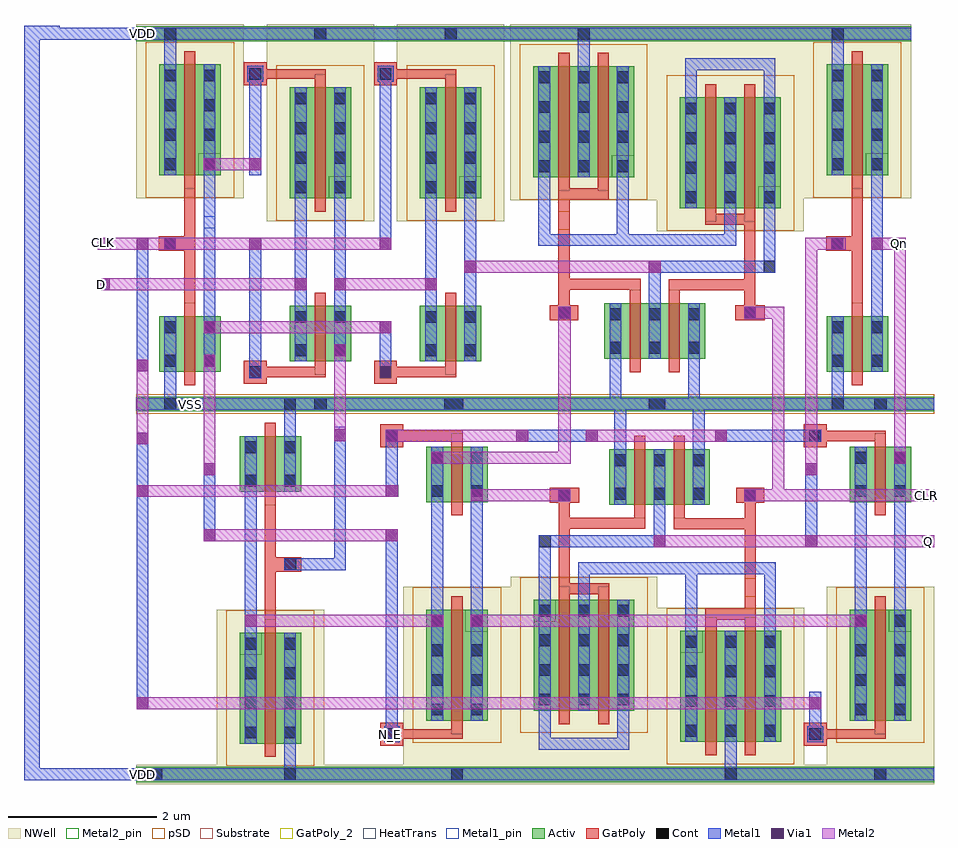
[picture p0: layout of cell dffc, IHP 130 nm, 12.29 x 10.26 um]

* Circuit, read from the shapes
.subckt dffc CLK CLR D N_E Q Qn VDD VSS
XM1 N_E CLK VSS VSS sg13_lv_nmos w=0.75u l=0.15u
XM2 VSS tg$16_0/VIN nor2$5_2/A VSS sg13_lv_nmos w=0.75u l=0.15u
XM3 tg$16_0/VIN CLK D VSS sg13_lv_nmos w=0.75u l=0.15u
XM4 tg$16_0/VOUT N_E tg$16_0/VIN VSS sg13_lv_nmos w=0.75u l=0.15u
XM5 nor2$6_1/B CLK nor2$5_2/A VSS sg13_lv_nmos w=0.75u l=0.15u
XM6 tg$16_0/VOUT nor2$5_2/A VSS VSS sg13_lv_nmos w=0.75u l=0.15u
XM7 Q nor2$6_1/B VSS VSS sg13_lv_nmos w=0.75u l=0.15u
XM8 VSS CLR tg$16_0/VOUT VSS sg13_lv_nmos w=0.75u l=0.15u
XM9 VSS CLR Q VSS sg13_lv_nmos w=0.75u l=0.15u
XM10 Qn Q VSS VSS sg13_lv_nmos w=0.75u l=0.15u
XM11 Qn CLK nor2$6_1/B VSS sg13_lv_nmos w=0.75u l=0.15u
XM12 N_E CLK VDD VDD sg13_lv_pmos w=1.5u l=0.15u
XM13 VDD tg$16_0/VIN nor2$5_2/A VDD sg13_lv_pmos w=1.5u l=0.15u
XM14 tg$16_0/VIN N_E D VDD sg13_lv_pmos w=1.5u l=0.15u
XM15 tg$16_0/VOUT CLK tg$16_0/VIN VDD sg13_lv_pmos w=1.5u l=0.15u
XM16 nor2$6_1/B N_E nor2$5_2/A VDD sg13_lv_pmos w=1.5u l=0.15u
XM17 VDD nor2$5_2/A n1 VDD sg13_lv_pmos w=1.5u l=0.15u m=2
XM18 n2 nor2$6_1/B Q VDD sg13_lv_pmos w=1.5u l=0.15u m=2
XM19 n1 CLR tg$16_0/VOUT VDD sg13_lv_pmos w=1.5u l=0.15u m=2
XM20 VDD CLR n2 VDD sg13_lv_pmos w=1.5u l=0.15u m=2
XM21 Qn Q VDD VDD sg13_lv_pmos w=1.5u l=0.15u
XM22 Qn CLK nor2$6_1/B VDD sg13_lv_pmos w=1.5u l=0.15u
.ends

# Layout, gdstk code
from math import pi, radians
import gdstk
lib = gdstk.Library(unit=1e-6, precision=5e-09)
def R(c, l, rs):  # rectangles x0, y0, x1, y1
    for r in rs: c.add(gdstk.rectangle(r[:2], r[2:], *l))
def A(c, l, x, y, w, h, nx, ny, dx, dy):  # array of equal rectangles
    R(c, l, [(x+i*dx, y+j*dy, x+i*dx+w, y+j*dy+h) for i in range(nx) for j in range(ny)])
def P(c, l, *ps):  # polygons
    for p in ps: c.add(gdstk.Polygon(p, *l))
Activ = (1, 0)
GatPoly = (5, 0)
GatPoly_2 = (5, 2)
Cont = (6, 0)
Metal1 = (8, 0)
Metal1_pin = (8, 2)
Metal2 = (10, 0)
Metal2_pin = (10, 2)
pSD = (14, 0)
Via1 = (19, 0)
NWell = (31, 0)
Substrate = (40, 0)
HeatTrans = (51, 0)

pmos_1_28 = lib.new_cell('pmos$1$28')
R(pmos_1_28, Activ, [(0,0,0.3,0.3), (0,0,0.83,1.5), (0.53,0,0.83,0.3)])
R(pmos_1_28, GatPoly, [(0.34,-0.18,0.49,1.68), (0.34,-0.18,0.49,1.68)])
A(pmos_1_28, Cont, 0.07, 0.07, 0.16, 0.16, 1, 4, 0, 0.4)
A(pmos_1_28, Cont, 0.6, 0.07, 0.16, 0.16, 1, 4, 0, 0.4)
R(pmos_1_28, Metal1, [(0.07,0,0.23,1.5), (0.07,0,0.23,1.5), (0.6,0,0.76,1.5), (0.6,0,0.76,1.5)])
R(pmos_1_28, pSD, [(-0.18,-0.3,1.01,1.8)])
R(pmos_1_28, NWell, [(-0.31,-0.31,1.14,1.81)])
R(pmos_1_28, Substrate, [(0.53,0,0.83,0.3)])
R(pmos_1_28, HeatTrans, [(0.34,-0.18,0.49,1.68)])
pmos_1_28.add(gdstk.Label('pmos', (0.415,0.75), layer=63, texttype=0))
pmos_1_28.add(gdstk.Label('pmos', (0.415,0.75), layer=51, texttype=0))

nmos_1_16 = lib.new_cell('nmos$1$16')
R(nmos_1_16, Activ, [(0,0,0.3,0.3), (0,0,0.83,0.75), (0.53,0,0.83,0.3)])
R(nmos_1_16, GatPoly, [(0.34,-0.18,0.49,0.93)])
R(nmos_1_16, GatPoly_2, [(0.34,-0.18,0.49,0.93)])
R(nmos_1_16, Cont, [(0.07,0.07,0.23,0.23), (0.6,0.07,0.76,0.23), (0.07,0.52,0.23,0.68), (0.6,0.52,0.76,0.68)])
R(nmos_1_16, Metal1, [(0.07,0,0.23,0.75), (0.6,0,0.76,0.75)])
R(nmos_1_16, Metal1_pin, [(0.07,0,0.23,0.75), (0.6,0,0.76,0.75)])
R(nmos_1_16, HeatTrans, [(0.34,-0.18,0.49,0.93)])
nmos_1_16.add(gdstk.Label('nmos', (0.415,0.375), layer=63, texttype=0))
nmos_1_16.add(gdstk.Label('nmos', (0.415,0.375), layer=51, texttype=0))

tg_16 = lib.new_cell('tg$16')
R(tg_16, Activ, [(-1.035,-0.1,0.725,0.1), (-1.035,4.9,0.725,5.1)])
R(tg_16, GatPoly, [(-1.035,0.275,-0.725,0.585), (-0.725,0.36,0.075,0.5), (-1.035,4.305,-0.725,4.615), (-0.725,4.39,0.075,4.52)])
R(tg_16, Cont, [(-0.085,-0.08,0.085,0.08), (-0.96,0.35,-0.8,0.51), (-0.96,4.375,-0.8,4.535), (-0.08,4.92,0.08,5.08)])
R(tg_16, Metal1, [(-1.035,-0.08,0.725,0.08), (-0.085,-0.08,0.085,0.08), (-0.96,0.35,-0.8,0.51), (-0.345,0.83,-0.185,0.99), (0.185,0.83,0.345,0.99), (-0.345,1.06,-0.185,2.775), (0.185,1.06,0.345,2.775), (-0.985,4.35,-0.77,4.565), (-1.035,4.92,0.725,5.08), (-0.08,4.92,0.08,5.08)])
R(tg_16, Metal1_pin, [(-1.035,-0.08,0.725,0.08), (-0.085,-0.08,0.085,0.08), (-0.96,0.35,-0.8,0.51), (-0.345,0.83,-0.185,0.99), (0.185,0.83,0.345,0.99), (-0.96,4.375,-0.8,4.535), (-1.035,4.92,0.725,5.08), (-0.08,4.92,0.08,5.08)])
R(tg_16, pSD, [(-1.035,-0.13,0.725,0.13)])
R(tg_16, NWell, [(-0.725,4.585,0.725,5.13)])
tg_16.add(gdstk.Reference(pmos_1_28, (-0.415,2.775)))
tg_16.add(gdstk.Reference(nmos_1_16, (-0.415,0.575)))
tg_16.add(gdstk.Label('E', (-0.89,0.425), layer=8, texttype=2))
tg_16.add(gdstk.Label('vss', (0,0), layer=8, texttype=2))
tg_16.add(gdstk.Label('vdd', (0,5), layer=8, texttype=2))
tg_16.add(gdstk.Label('N_E', (-0.895,4.44), layer=8, texttype=2))
tg_16.add(gdstk.Label('VIN', (-0.285,0.91), layer=8, texttype=2))
tg_16.add(gdstk.Label('VOUT', (0.255,0.925), layer=8, texttype=2))

pmos_7 = lib.new_cell('pmos$7')
A(pmos_7, Activ, 0, 0, 0.3, 0.3, 3, 1, 0.53, 0)
R(pmos_7, Activ, [(0,0,1.36,1.5)])
R(pmos_7, GatPoly, [(0.34,-0.18,0.49,1.68), (0.34,-0.18,0.49,1.68), (0.87,-0.18,1.02,1.68)])
A(pmos_7, Cont, 0.07, 0.07, 0.16, 0.16, 3, 4, 0.53, 0.4)
R(pmos_7, Metal1, [(0.07,0,0.23,1.5), (0.07,0,0.23,1.5), (0.6,0,0.76,1.5), (0.6,0,0.76,1.5), (1.13,0,1.29,1.5)])
R(pmos_7, pSD, [(-0.18,-0.3,1.54,1.8)])
R(pmos_7, NWell, [(-0.31,-0.31,1.67,1.81)])
R(pmos_7, Substrate, [(1.06,0,1.36,0.3)])
R(pmos_7, HeatTrans, [(0.34,-0.18,0.49,1.68), (0.87,-0.18,1.02,1.68)])
pmos_7.add(gdstk.Label('pmos', (0.415,0.75), layer=63, texttype=0))
pmos_7.add(gdstk.Label('pmos', (0.415,0.75), layer=51, texttype=0))
pmos_7.add(gdstk.Label('pmos', (0.945,0.75), layer=51, texttype=0))

nmos_2_6 = lib.new_cell('nmos$2$6')
R(nmos_2_6, Activ, [(0,0,0.3,0.3), (0,0,0.83,0.75), (0.53,0,0.83,0.3)])
R(nmos_2_6, GatPoly, [(0.34,-0.18,0.49,0.93)])
R(nmos_2_6, GatPoly_2, [(0.34,-0.18,0.49,0.93)])
R(nmos_2_6, Cont, [(0.07,0.07,0.23,0.23), (0.6,0.07,0.76,0.23), (0.07,0.52,0.23,0.68), (0.6,0.52,0.76,0.68)])
R(nmos_2_6, Metal1, [(0.07,0,0.23,0.75), (0.6,0,0.76,0.75)])
R(nmos_2_6, Metal1_pin, [(0.07,0,0.23,0.75), (0.6,0,0.76,0.75)])
R(nmos_2_6, HeatTrans, [(0.34,-0.18,0.49,0.93)])
nmos_2_6.add(gdstk.Label('nmos', (0.415,0.375), layer=63, texttype=0))
nmos_2_6.add(gdstk.Label('nmos', (0.415,0.375), layer=51, texttype=0))

nor2_6 = lib.new_cell('nor2$6')
R(nor2_6, Activ, [(-2.34,-0.1,1.62,0.1), (-2.34,4.9,1.62,5.1)])
R(nor2_6, GatPoly, [(-1.805,1.13,-1.605,1.33), (-1.625,1.13,-1.425,1.33), (0.695,1.13,0.895,1.33), (0.82,1.13,0.97,1.685), (0.895,1.13,1.095,1.33), (-1.69,1.33,-1.54,1.69), (-0.2,1.535,0.97,1.685), (-1.69,1.54,-0.58,1.69), (0.82,1.685,0.97,2.46), (-1.69,1.69,-1.54,2.88), (0.29,2.42,0.97,2.57), (-1.69,2.76,-1.01,2.91)])
R(nor2_6, GatPoly_2, [(-1.69,2.35,-1.54,2.6)])
R(nor2_6, Cont, [(-0.47,-0.08,-0.31,0.08), (-1.69,1.15,-1.53,1.31), (0.815,1.15,0.975,1.31), (1.08,1.775,1.24,1.935), (-1.43,4.92,-1.27,5.08)])
R(nor2_6, Metal1, [(-2.34,-0.08,1.62,0.08), (-0.47,-0.08,-0.31,0.08), (-1,0.08,-0.84,0.84), (0.06,0.08,0.22,0.84), (-0.47,1.13,-0.31,1.775), (-1.69,1.15,-1.53,1.31), (0.815,1.15,0.975,1.31), (-0.47,1.775,1.24,1.935), (1.08,1.935,1.24,2.64), (-1.96,2.135,-1.8,3.29), (-1.96,2.135,0.71,2.295), (-0.9,2.135,-0.74,3.29), (0.55,2.135,0.71,2.87), (0.02,3.905,0.18,4.505), (1.08,3.905,1.24,4.505), (0.02,4.505,1.24,4.665), (-1.43,4.56,-1.27,5.08), (-2.34,4.92,1.62,5.08), (-1.43,4.92,-1.27,5.08)])
R(nor2_6, Metal1_pin, [(-2.34,-0.08,1.62,0.08), (-0.47,-0.08,-0.31,0.08), (-1.69,1.15,-1.53,1.31), (0.815,1.15,0.975,1.31), (1.08,1.775,1.24,1.935), (-2.34,4.92,-0.08,5.08), (-0.08,4.92,0.08,5.08), (0.08,4.92,1.62,5.08)])
R(nor2_6, pSD, [(-2.34,-0.13,1.62,0.13)])
R(nor2_6, NWell, [(-0.36,4.45,1.62,4.87), (-2.34,4.87,1.62,5.13)])
nor2_6.add(gdstk.Reference(pmos_7, (-0.05,2.64)))
nor2_6.add(gdstk.Reference(pmos_7, (-2.03,3.06)))
nor2_6.add(gdstk.Reference(pmos_7, (-2.03,3.06)))
nor2_6.add(gdstk.Reference(nmos_2_6, (-1.07,0.61)))
nor2_6.add(gdstk.Reference(nmos_2_6, (-0.54,0.61)))
nor2_6.add(gdstk.Label('vss', (-0.39,0), layer=8, texttype=2))
nor2_6.add(gdstk.Label('vdd', (-1.38,5), layer=8, texttype=2))
nor2_6.add(gdstk.Label('A', (-1.61,1.23), layer=8, texttype=2))
nor2_6.add(gdstk.Label('B', (0.895,1.23), layer=8, texttype=2))
nor2_6.add(gdstk.Label('out', (1.16,1.855), layer=8, texttype=2))

pmos_6 = lib.new_cell('pmos$6')
A(pmos_6, Activ, 0, 0, 0.3, 0.3, 3, 1, 0.53, 0)
R(pmos_6, Activ, [(0,0,1.36,1.5)])
R(pmos_6, GatPoly, [(0.34,-0.18,0.49,1.68), (0.34,-0.18,0.49,1.68), (0.87,-0.18,1.02,1.68)])
A(pmos_6, Cont, 0.07, 0.07, 0.16, 0.16, 3, 4, 0.53, 0.4)
R(pmos_6, Metal1, [(0.07,0,0.23,1.5), (0.07,0,0.23,1.5), (0.6,0,0.76,1.5), (0.6,0,0.76,1.5), (1.13,0,1.29,1.5)])
R(pmos_6, pSD, [(-0.18,-0.3,1.54,1.8)])
R(pmos_6, NWell, [(-0.31,-0.31,1.67,1.81)])
R(pmos_6, Substrate, [(1.06,0,1.36,0.3)])
R(pmos_6, HeatTrans, [(0.34,-0.18,0.49,1.68), (0.87,-0.18,1.02,1.68)])
pmos_6.add(gdstk.Label('pmos', (0.415,0.75), layer=63, texttype=0))
pmos_6.add(gdstk.Label('pmos', (0.415,0.75), layer=51, texttype=0))
pmos_6.add(gdstk.Label('pmos', (0.945,0.75), layer=51, texttype=0))

nmos_2_5 = lib.new_cell('nmos$2$5')
R(nmos_2_5, Activ, [(0,0,0.3,0.3), (0,0,0.83,0.75), (0.53,0,0.83,0.3)])
R(nmos_2_5, GatPoly, [(0.34,-0.18,0.49,0.93)])
R(nmos_2_5, GatPoly_2, [(0.34,-0.18,0.49,0.93)])
R(nmos_2_5, Cont, [(0.07,0.07,0.23,0.23), (0.6,0.07,0.76,0.23), (0.07,0.52,0.23,0.68), (0.6,0.52,0.76,0.68)])
R(nmos_2_5, Metal1, [(0.07,0,0.23,0.75), (0.6,0,0.76,0.75)])
R(nmos_2_5, Metal1_pin, [(0.07,0,0.23,0.75), (0.6,0,0.76,0.75)])
R(nmos_2_5, HeatTrans, [(0.34,-0.18,0.49,0.93)])
nmos_2_5.add(gdstk.Label('nmos', (0.415,0.375), layer=63, texttype=0))
nmos_2_5.add(gdstk.Label('nmos', (0.415,0.375), layer=51, texttype=0))

nor2_5 = lib.new_cell('nor2$5')
R(nor2_5, Activ, [(-2.34,-0.1,1.62,0.1), (-2.34,4.9,1.62,5.1)])
R(nor2_5, GatPoly, [(-1.805,1.13,-1.605,1.33), (-1.625,1.13,-1.425,1.33), (0.695,1.13,0.895,1.33), (0.82,1.13,0.97,1.685), (0.895,1.13,1.095,1.33), (-1.69,1.33,-1.54,1.69), (-0.2,1.535,0.97,1.685), (-1.69,1.54,-0.58,1.69), (0.82,1.685,0.97,2.46), (-1.69,1.69,-1.54,2.88), (0.29,2.42,0.97,2.57), (-1.69,2.76,-1.01,2.91)])
R(nor2_5, GatPoly_2, [(-1.69,2.35,-1.54,2.6)])
R(nor2_5, Cont, [(-0.47,-0.08,-0.31,0.08), (-1.69,1.15,-1.53,1.31), (0.815,1.15,0.975,1.31), (1.08,1.775,1.24,1.935), (-1.43,4.92,-1.27,5.08)])
R(nor2_5, Metal1, [(-2.34,-0.08,1.62,0.08), (-0.47,-0.08,-0.31,0.08), (-1,0.08,-0.84,0.84), (0.06,0.08,0.22,0.84), (-0.47,1.13,-0.31,1.775), (-1.69,1.15,-1.53,1.31), (0.815,1.15,0.975,1.31), (-0.47,1.775,1.24,1.935), (1.08,1.935,1.24,2.64), (-1.96,2.135,-1.8,3.29), (-1.96,2.135,0.71,2.295), (-0.9,2.135,-0.74,3.29), (0.55,2.135,0.71,2.87), (0.02,3.905,0.18,4.505), (1.08,3.905,1.24,4.505), (0.02,4.505,1.24,4.665), (-1.43,4.56,-1.27,5.08), (-2.34,4.92,1.62,5.08), (-1.43,4.92,-1.27,5.08)])
R(nor2_5, Metal1_pin, [(-2.34,-0.08,1.62,0.08), (-0.47,-0.08,-0.31,0.08), (-1.69,1.15,-1.53,1.31), (0.815,1.15,0.975,1.31), (1.08,1.775,1.24,1.935), (-2.34,4.92,-0.08,5.08), (-0.08,4.92,0.08,5.08), (0.08,4.92,1.62,5.08)])
R(nor2_5, pSD, [(-2.34,-0.13,1.62,0.13)])
R(nor2_5, NWell, [(-0.36,4.45,1.62,4.87), (-2.34,4.87,1.62,5.13)])
nor2_5.add(gdstk.Reference(pmos_6, (-0.05,2.64)))
nor2_5.add(gdstk.Reference(pmos_6, (-2.03,3.06)))
nor2_5.add(gdstk.Reference(pmos_6, (-2.03,3.06)))
nor2_5.add(gdstk.Reference(nmos_2_5, (-1.07,0.61)))
nor2_5.add(gdstk.Reference(nmos_2_5, (-0.54,0.61)))
nor2_5.add(gdstk.Label('vss', (-0.39,0), layer=8, texttype=2))
nor2_5.add(gdstk.Label('vdd', (-1.38,5), layer=8, texttype=2))
nor2_5.add(gdstk.Label('A', (-1.61,1.23), layer=8, texttype=2))
nor2_5.add(gdstk.Label('B', (0.895,1.23), layer=8, texttype=2))
nor2_5.add(gdstk.Label('out', (1.16,1.855), layer=8, texttype=2))

pmos_1_25 = lib.new_cell('pmos$1$25')
R(pmos_1_25, Activ, [(0,0,0.3,0.3), (0,0,0.83,1.5), (0.53,0,0.83,0.3)])
R(pmos_1_25, GatPoly, [(0.34,-0.18,0.49,1.68), (0.34,-0.18,0.49,1.68)])
A(pmos_1_25, Cont, 0.07, 0.07, 0.16, 0.16, 1, 4, 0, 0.4)
A(pmos_1_25, Cont, 0.6, 0.07, 0.16, 0.16, 1, 4, 0, 0.4)
R(pmos_1_25, Metal1, [(0.07,0,0.23,1.5), (0.07,0,0.23,1.5), (0.6,0,0.76,1.5), (0.6,0,0.76,1.5)])
R(pmos_1_25, pSD, [(-0.18,-0.3,1.01,1.8)])
R(pmos_1_25, NWell, [(-0.31,-0.31,1.14,1.81)])
R(pmos_1_25, Substrate, [(0.53,0,0.83,0.3)])
R(pmos_1_25, HeatTrans, [(0.34,-0.18,0.49,1.68)])
pmos_1_25.add(gdstk.Label('pmos', (0.415,0.75), layer=63, texttype=0))
pmos_1_25.add(gdstk.Label('pmos', (0.415,0.75), layer=51, texttype=0))

nmos_1_15 = lib.new_cell('nmos$1$15')
R(nmos_1_15, Activ, [(0,0,0.3,0.3), (0,0,0.83,0.75), (0.53,0,0.83,0.3)])
R(nmos_1_15, GatPoly, [(0.34,-0.18,0.49,0.93)])
R(nmos_1_15, GatPoly_2, [(0.34,-0.18,0.49,0.93)])
R(nmos_1_15, Cont, [(0.07,0.07,0.23,0.23), (0.6,0.07,0.76,0.23), (0.07,0.52,0.23,0.68), (0.6,0.52,0.76,0.68)])
R(nmos_1_15, Metal1, [(0.07,0,0.23,0.75), (0.6,0,0.76,0.75)])
R(nmos_1_15, Metal1_pin, [(0.07,0,0.23,0.75), (0.6,0,0.76,0.75)])
R(nmos_1_15, HeatTrans, [(0.34,-0.18,0.49,0.93)])
nmos_1_15.add(gdstk.Label('nmos', (0.415,0.375), layer=63, texttype=0))
nmos_1_15.add(gdstk.Label('nmos', (0.415,0.375), layer=51, texttype=0))

tg_15 = lib.new_cell('tg$15')
R(tg_15, Activ, [(-1.035,-0.1,0.725,0.1), (-1.035,4.9,0.725,5.1)])
R(tg_15, GatPoly, [(-1.035,0.275,-0.725,0.585), (-0.725,0.36,0.075,0.5), (-1.035,4.305,-0.725,4.615), (-0.725,4.39,0.075,4.52)])
R(tg_15, Cont, [(-0.085,-0.08,0.085,0.08), (-0.96,0.35,-0.8,0.51), (-0.96,4.375,-0.8,4.535), (-0.08,4.92,0.08,5.08)])
R(tg_15, Metal1, [(-1.035,-0.08,0.725,0.08), (-0.085,-0.08,0.085,0.08), (-0.96,0.35,-0.8,0.51), (-0.345,0.83,-0.185,0.99), (0.185,0.83,0.345,0.99), (-0.345,1.06,-0.185,2.775), (0.185,1.06,0.345,2.775), (-0.985,4.35,-0.77,4.565), (-1.035,4.92,0.725,5.08), (-0.08,4.92,0.08,5.08)])
R(tg_15, Metal1_pin, [(-1.035,-0.08,0.725,0.08), (-0.085,-0.08,0.085,0.08), (-0.96,0.35,-0.8,0.51), (-0.345,0.83,-0.185,0.99), (0.185,0.83,0.345,0.99), (-0.96,4.375,-0.8,4.535), (-1.035,4.92,0.725,5.08), (-0.08,4.92,0.08,5.08)])
R(tg_15, pSD, [(-1.035,-0.13,0.725,0.13)])
R(tg_15, NWell, [(-0.725,4.585,0.725,5.13)])
tg_15.add(gdstk.Reference(pmos_1_25, (-0.415,2.775)))
tg_15.add(gdstk.Reference(nmos_1_15, (-0.415,0.575)))
tg_15.add(gdstk.Label('E', (-0.89,0.425), layer=8, texttype=2))
tg_15.add(gdstk.Label('vss', (0,0), layer=8, texttype=2))
tg_15.add(gdstk.Label('vdd', (0,5), layer=8, texttype=2))
tg_15.add(gdstk.Label('N_E', (-0.895,4.44), layer=8, texttype=2))
tg_15.add(gdstk.Label('VIN', (-0.285,0.91), layer=8, texttype=2))
tg_15.add(gdstk.Label('VOUT', (0.255,0.925), layer=8, texttype=2))

nmos_11 = lib.new_cell('nmos$11')
R(nmos_11, Activ, [(0,0,0.3,0.3), (0,0,0.83,0.75), (0.53,0,0.83,0.3)])
R(nmos_11, GatPoly, [(0.34,-0.18,0.49,0.93)])
R(nmos_11, GatPoly_2, [(0.34,-0.18,0.49,0.93)])
R(nmos_11, Cont, [(0.07,0.07,0.23,0.23), (0.6,0.07,0.76,0.23), (0.07,0.52,0.23,0.68), (0.6,0.52,0.76,0.68)])
R(nmos_11, Metal1, [(0.07,0,0.23,0.75), (0.6,0,0.76,0.75)])
R(nmos_11, Metal1_pin, [(0.07,0,0.23,0.75), (0.6,0,0.76,0.75)])
R(nmos_11, HeatTrans, [(0.34,-0.18,0.49,0.93)])
nmos_11.add(gdstk.Label('nmos', (0.415,0.375), layer=63, texttype=0))
nmos_11.add(gdstk.Label('nmos', (0.415,0.375), layer=51, texttype=0))

pmos_1_22 = lib.new_cell('pmos$1$22')
R(pmos_1_22, Activ, [(0,0,0.3,0.3), (0,0,0.83,1.5), (0.53,0,0.83,0.3)])
R(pmos_1_22, GatPoly, [(0.34,-0.18,0.49,1.68), (0.34,-0.18,0.49,1.68)])
A(pmos_1_22, Cont, 0.07, 0.07, 0.16, 0.16, 1, 4, 0, 0.4)
A(pmos_1_22, Cont, 0.6, 0.07, 0.16, 0.16, 1, 4, 0, 0.4)
R(pmos_1_22, Metal1, [(0.07,0,0.23,1.5), (0.07,0,0.23,1.5), (0.6,0,0.76,1.5), (0.6,0,0.76,1.5)])
R(pmos_1_22, pSD, [(-0.18,-0.3,1.01,1.8)])
R(pmos_1_22, NWell, [(-0.31,-0.31,1.14,1.81)])
R(pmos_1_22, Substrate, [(0.53,0,0.83,0.3)])
R(pmos_1_22, HeatTrans, [(0.34,-0.18,0.49,1.68)])
pmos_1_22.add(gdstk.Label('pmos', (0.415,0.75), layer=63, texttype=0))
pmos_1_22.add(gdstk.Label('pmos', (0.415,0.75), layer=51, texttype=0))

inverter_9 = lib.new_cell('inverter$9')
R(inverter_9, Activ, [(-0.46,-0.1,0.99,0.1), (-0.46,4.9,0.99,5.1)])
R(inverter_9, GatPoly, [(0.19,1.365,0.34,2.965), (-0.155,2.07,0.145,2.265), (0.145,2.07,0.19,2.265)])
R(inverter_9, Cont, [(-0.08,-0.08,0.08,0.08), (-0.085,2.085,0.075,2.245), (-0.08,4.92,0.08,5.08)])
R(inverter_9, Metal1, [(-0.46,-0.08,0.99,0.08), (-0.08,-0.08,0.08,0.08), (-0.08,0.08,0.08,0.435), (0.45,0.96,0.61,3.37), (-0.085,2.085,0.075,2.245), (-0.08,4.585,0.08,4.92), (-0.46,4.92,-0.08,5.08), (-0.08,4.92,0.08,5.08), (0.08,4.92,0.99,5.08)])
R(inverter_9, Metal1_pin, [(-0.46,-0.08,0.99,0.08), (-0.08,-0.08,0.08,0.08), (-0.085,2.085,0.075,2.245), (0.45,3.155,0.61,3.315), (-0.46,4.92,0.99,5.08), (-0.08,4.92,0.08,5.08)])
R(inverter_9, pSD, [(-0.46,-0.13,0.99,0.13)])
R(inverter_9, NWell, [(-0.46,4.87,0.99,5.13)])
inverter_9.add(gdstk.Reference(nmos_11, (-0.15,0.435)))
inverter_9.add(gdstk.Reference(pmos_1_22, (-0.15,3.085)))
inverter_9.add(gdstk.Label('out', (0.505,3.25), layer=8, texttype=2))
inverter_9.add(gdstk.Label('VSS', (0.015,0.015), layer=8, texttype=2))
inverter_9.add(gdstk.Label('VDD', (-0.025,4.94), layer=8, texttype=2))
inverter_9.add(gdstk.Label('in', (-0.01,2.15), layer=8, texttype=2))

nmos_12 = lib.new_cell('nmos$12')
R(nmos_12, Activ, [(0,0,0.3,0.3), (0,0,0.83,0.75), (0.53,0,0.83,0.3)])
R(nmos_12, GatPoly, [(0.34,-0.18,0.49,0.93)])
R(nmos_12, GatPoly_2, [(0.34,-0.18,0.49,0.93)])
R(nmos_12, Cont, [(0.07,0.07,0.23,0.23), (0.6,0.07,0.76,0.23), (0.07,0.52,0.23,0.68), (0.6,0.52,0.76,0.68)])
R(nmos_12, Metal1, [(0.07,0,0.23,0.75), (0.6,0,0.76,0.75)])
R(nmos_12, Metal1_pin, [(0.07,0,0.23,0.75), (0.6,0,0.76,0.75)])
R(nmos_12, HeatTrans, [(0.34,-0.18,0.49,0.93)])
nmos_12.add(gdstk.Label('nmos', (0.415,0.375), layer=63, texttype=0))
nmos_12.add(gdstk.Label('nmos', (0.415,0.375), layer=51, texttype=0))

pmos_1_26 = lib.new_cell('pmos$1$26')
R(pmos_1_26, Activ, [(0,0,0.3,0.3), (0,0,0.83,1.5), (0.53,0,0.83,0.3)])
R(pmos_1_26, GatPoly, [(0.34,-0.18,0.49,1.68), (0.34,-0.18,0.49,1.68)])
A(pmos_1_26, Cont, 0.07, 0.07, 0.16, 0.16, 1, 4, 0, 0.4)
A(pmos_1_26, Cont, 0.6, 0.07, 0.16, 0.16, 1, 4, 0, 0.4)
R(pmos_1_26, Metal1, [(0.07,0,0.23,1.5), (0.07,0,0.23,1.5), (0.6,0,0.76,1.5), (0.6,0,0.76,1.5)])
R(pmos_1_26, pSD, [(-0.18,-0.3,1.01,1.8)])
R(pmos_1_26, NWell, [(-0.31,-0.31,1.14,1.81)])
R(pmos_1_26, Substrate, [(0.53,0,0.83,0.3)])
R(pmos_1_26, HeatTrans, [(0.34,-0.18,0.49,1.68)])
pmos_1_26.add(gdstk.Label('pmos', (0.415,0.75), layer=63, texttype=0))
pmos_1_26.add(gdstk.Label('pmos', (0.415,0.75), layer=51, texttype=0))

inverter_10 = lib.new_cell('inverter$10')
R(inverter_10, Activ, [(-0.46,-0.1,0.99,0.1), (-0.46,4.9,0.99,5.1)])
R(inverter_10, GatPoly, [(0.19,1.365,0.34,2.965), (-0.155,2.07,0.145,2.265), (0.145,2.07,0.19,2.265)])
R(inverter_10, Cont, [(-0.08,-0.08,0.08,0.08), (-0.085,2.085,0.075,2.245), (-0.08,4.92,0.08,5.08)])
R(inverter_10, Metal1, [(-0.46,-0.08,0.99,0.08), (-0.08,-0.08,0.08,0.08), (-0.08,0.08,0.08,0.435), (0.45,0.96,0.61,3.37), (-0.085,2.085,0.075,2.245), (-0.08,4.585,0.08,4.92), (-0.46,4.92,-0.08,5.08), (-0.08,4.92,0.08,5.08), (0.08,4.92,0.99,5.08)])
R(inverter_10, Metal1_pin, [(-0.46,-0.08,0.99,0.08), (-0.08,-0.08,0.08,0.08), (-0.085,2.085,0.075,2.245), (0.45,3.155,0.61,3.315), (-0.46,4.92,0.99,5.08), (-0.08,4.92,0.08,5.08)])
R(inverter_10, pSD, [(-0.46,-0.13,0.99,0.13)])
R(inverter_10, NWell, [(-0.46,4.87,0.99,5.13)])
inverter_10.add(gdstk.Reference(nmos_12, (-0.15,0.435)))
inverter_10.add(gdstk.Reference(pmos_1_26, (-0.15,3.085)))
inverter_10.add(gdstk.Label('out', (0.505,3.25), layer=8, texttype=2))
inverter_10.add(gdstk.Label('VSS', (0.015,0.015), layer=8, texttype=2))
inverter_10.add(gdstk.Label('VDD', (-0.025,4.94), layer=8, texttype=2))
inverter_10.add(gdstk.Label('in', (-0.01,2.15), layer=8, texttype=2))

pmos_1_23 = lib.new_cell('pmos$1$23')
R(pmos_1_23, Activ, [(0,0,0.3,0.3), (0,0,0.83,1.5), (0.53,0,0.83,0.3)])
R(pmos_1_23, GatPoly, [(0.34,-0.18,0.49,1.68), (0.34,-0.18,0.49,1.68)])
A(pmos_1_23, Cont, 0.07, 0.07, 0.16, 0.16, 1, 4, 0, 0.4)
A(pmos_1_23, Cont, 0.6, 0.07, 0.16, 0.16, 1, 4, 0, 0.4)
R(pmos_1_23, Metal1, [(0.07,0,0.23,1.5), (0.07,0,0.23,1.5), (0.6,0,0.76,1.5), (0.6,0,0.76,1.5)])
R(pmos_1_23, pSD, [(-0.18,-0.3,1.01,1.8)])
R(pmos_1_23, NWell, [(-0.31,-0.31,1.14,1.81)])
R(pmos_1_23, Substrate, [(0.53,0,0.83,0.3)])
R(pmos_1_23, HeatTrans, [(0.34,-0.18,0.49,1.68)])
pmos_1_23.add(gdstk.Label('pmos', (0.415,0.75), layer=63, texttype=0))
pmos_1_23.add(gdstk.Label('pmos', (0.415,0.75), layer=51, texttype=0))

nmos_1_13 = lib.new_cell('nmos$1$13')
R(nmos_1_13, Activ, [(0,0,0.3,0.3), (0,0,0.83,0.75), (0.53,0,0.83,0.3)])
R(nmos_1_13, GatPoly, [(0.34,-0.18,0.49,0.93)])
R(nmos_1_13, GatPoly_2, [(0.34,-0.18,0.49,0.93)])
R(nmos_1_13, Cont, [(0.07,0.07,0.23,0.23), (0.6,0.07,0.76,0.23), (0.07,0.52,0.23,0.68), (0.6,0.52,0.76,0.68)])
R(nmos_1_13, Metal1, [(0.07,0,0.23,0.75), (0.6,0,0.76,0.75)])
R(nmos_1_13, Metal1_pin, [(0.07,0,0.23,0.75), (0.6,0,0.76,0.75)])
R(nmos_1_13, HeatTrans, [(0.34,-0.18,0.49,0.93)])
nmos_1_13.add(gdstk.Label('nmos', (0.415,0.375), layer=63, texttype=0))
nmos_1_13.add(gdstk.Label('nmos', (0.415,0.375), layer=51, texttype=0))

tg_13 = lib.new_cell('tg$13')
R(tg_13, Activ, [(-1.035,-0.1,0.725,0.1), (-1.035,4.9,0.725,5.1)])
R(tg_13, GatPoly, [(-1.035,0.275,-0.725,0.585), (-0.725,0.36,0.075,0.5), (-1.035,4.305,-0.725,4.615), (-0.725,4.39,0.075,4.52)])
R(tg_13, Cont, [(-0.085,-0.08,0.085,0.08), (-0.96,0.35,-0.8,0.51), (-0.96,4.375,-0.8,4.535), (-0.08,4.92,0.08,5.08)])
R(tg_13, Metal1, [(-1.035,-0.08,0.725,0.08), (-0.085,-0.08,0.085,0.08), (-0.96,0.35,-0.8,0.51), (-0.345,0.83,-0.185,0.99), (0.185,0.83,0.345,0.99), (-0.345,1.06,-0.185,2.775), (0.185,1.06,0.345,2.775), (-0.985,4.35,-0.77,4.565), (-1.035,4.92,0.725,5.08), (-0.08,4.92,0.08,5.08)])
R(tg_13, Metal1_pin, [(-1.035,-0.08,0.725,0.08), (-0.085,-0.08,0.085,0.08), (-0.96,0.35,-0.8,0.51), (-0.345,0.83,-0.185,0.99), (0.185,0.83,0.345,0.99), (-0.96,4.375,-0.8,4.535), (-1.035,4.92,0.725,5.08), (-0.08,4.92,0.08,5.08)])
R(tg_13, pSD, [(-1.035,-0.13,0.725,0.13)])
R(tg_13, NWell, [(-0.725,4.585,0.725,5.13)])
tg_13.add(gdstk.Reference(pmos_1_23, (-0.415,2.775)))
tg_13.add(gdstk.Reference(nmos_1_13, (-0.415,0.575)))
tg_13.add(gdstk.Label('E', (-0.89,0.425), layer=8, texttype=2))
tg_13.add(gdstk.Label('vss', (0,0), layer=8, texttype=2))
tg_13.add(gdstk.Label('vdd', (0,5), layer=8, texttype=2))
tg_13.add(gdstk.Label('N_E', (-0.895,4.44), layer=8, texttype=2))
tg_13.add(gdstk.Label('VIN', (-0.285,0.91), layer=8, texttype=2))
tg_13.add(gdstk.Label('VOUT', (0.255,0.925), layer=8, texttype=2))

nmos_13 = lib.new_cell('nmos$13')
R(nmos_13, Activ, [(0,0,0.3,0.3), (0,0,0.83,0.75), (0.53,0,0.83,0.3)])
R(nmos_13, GatPoly, [(0.34,-0.18,0.49,0.93)])
R(nmos_13, GatPoly_2, [(0.34,-0.18,0.49,0.93)])
R(nmos_13, Cont, [(0.07,0.07,0.23,0.23), (0.6,0.07,0.76,0.23), (0.07,0.52,0.23,0.68), (0.6,0.52,0.76,0.68)])
R(nmos_13, Metal1, [(0.07,0,0.23,0.75), (0.6,0,0.76,0.75)])
R(nmos_13, Metal1_pin, [(0.07,0,0.23,0.75), (0.6,0,0.76,0.75)])
R(nmos_13, HeatTrans, [(0.34,-0.18,0.49,0.93)])
nmos_13.add(gdstk.Label('nmos', (0.415,0.375), layer=63, texttype=0))
nmos_13.add(gdstk.Label('nmos', (0.415,0.375), layer=51, texttype=0))

pmos_1_27 = lib.new_cell('pmos$1$27')
R(pmos_1_27, Activ, [(0,0,0.3,0.3), (0,0,0.83,1.5), (0.53,0,0.83,0.3)])
R(pmos_1_27, GatPoly, [(0.34,-0.18,0.49,1.68), (0.34,-0.18,0.49,1.68)])
A(pmos_1_27, Cont, 0.07, 0.07, 0.16, 0.16, 1, 4, 0, 0.4)
A(pmos_1_27, Cont, 0.6, 0.07, 0.16, 0.16, 1, 4, 0, 0.4)
R(pmos_1_27, Metal1, [(0.07,0,0.23,1.5), (0.07,0,0.23,1.5), (0.6,0,0.76,1.5), (0.6,0,0.76,1.5)])
R(pmos_1_27, pSD, [(-0.18,-0.3,1.01,1.8)])
R(pmos_1_27, NWell, [(-0.31,-0.31,1.14,1.81)])
R(pmos_1_27, Substrate, [(0.53,0,0.83,0.3)])
R(pmos_1_27, HeatTrans, [(0.34,-0.18,0.49,1.68)])
pmos_1_27.add(gdstk.Label('pmos', (0.415,0.75), layer=63, texttype=0))
pmos_1_27.add(gdstk.Label('pmos', (0.415,0.75), layer=51, texttype=0))

inverter_11 = lib.new_cell('inverter$11')
R(inverter_11, Activ, [(-0.46,-0.1,0.99,0.1), (-0.46,4.9,0.99,5.1)])
R(inverter_11, GatPoly, [(0.19,1.365,0.34,2.965), (-0.155,2.07,0.145,2.265), (0.145,2.07,0.19,2.265)])
R(inverter_11, Cont, [(-0.08,-0.08,0.08,0.08), (-0.085,2.085,0.075,2.245), (-0.08,4.92,0.08,5.08)])
R(inverter_11, Metal1, [(-0.46,-0.08,0.99,0.08), (-0.08,-0.08,0.08,0.08), (-0.08,0.08,0.08,0.435), (0.45,0.96,0.61,3.37), (-0.085,2.085,0.075,2.245), (-0.08,4.585,0.08,4.92), (-0.46,4.92,-0.08,5.08), (-0.08,4.92,0.08,5.08), (0.08,4.92,0.99,5.08)])
R(inverter_11, Metal1_pin, [(-0.46,-0.08,0.99,0.08), (-0.08,-0.08,0.08,0.08), (-0.085,2.085,0.075,2.245), (0.45,3.155,0.61,3.315), (-0.46,4.92,0.99,5.08), (-0.08,4.92,0.08,5.08)])
R(inverter_11, pSD, [(-0.46,-0.13,0.99,0.13)])
R(inverter_11, NWell, [(-0.46,4.87,0.99,5.13)])
inverter_11.add(gdstk.Reference(nmos_13, (-0.15,0.435)))
inverter_11.add(gdstk.Reference(pmos_1_27, (-0.15,3.085)))
inverter_11.add(gdstk.Label('out', (0.505,3.25), layer=8, texttype=2))
inverter_11.add(gdstk.Label('VSS', (0.015,0.015), layer=8, texttype=2))
inverter_11.add(gdstk.Label('VDD', (-0.025,4.94), layer=8, texttype=2))
inverter_11.add(gdstk.Label('in', (-0.01,2.15), layer=8, texttype=2))

pmos_1_24 = lib.new_cell('pmos$1$24')
R(pmos_1_24, Activ, [(0,0,0.3,0.3), (0,0,0.83,1.5), (0.53,0,0.83,0.3)])
R(pmos_1_24, GatPoly, [(0.34,-0.18,0.49,1.68), (0.34,-0.18,0.49,1.68)])
A(pmos_1_24, Cont, 0.07, 0.07, 0.16, 0.16, 1, 4, 0, 0.4)
A(pmos_1_24, Cont, 0.6, 0.07, 0.16, 0.16, 1, 4, 0, 0.4)
R(pmos_1_24, Metal1, [(0.07,0,0.23,1.5), (0.07,0,0.23,1.5), (0.6,0,0.76,1.5), (0.6,0,0.76,1.5)])
R(pmos_1_24, pSD, [(-0.18,-0.3,1.01,1.8)])
R(pmos_1_24, NWell, [(-0.31,-0.31,1.14,1.81)])
R(pmos_1_24, Substrate, [(0.53,0,0.83,0.3)])
R(pmos_1_24, HeatTrans, [(0.34,-0.18,0.49,1.68)])
pmos_1_24.add(gdstk.Label('pmos', (0.415,0.75), layer=63, texttype=0))
pmos_1_24.add(gdstk.Label('pmos', (0.415,0.75), layer=51, texttype=0))

nmos_1_14 = lib.new_cell('nmos$1$14')
R(nmos_1_14, Activ, [(0,0,0.3,0.3), (0,0,0.83,0.75), (0.53,0,0.83,0.3)])
R(nmos_1_14, GatPoly, [(0.34,-0.18,0.49,0.93)])
R(nmos_1_14, GatPoly_2, [(0.34,-0.18,0.49,0.93)])
R(nmos_1_14, Cont, [(0.07,0.07,0.23,0.23), (0.6,0.07,0.76,0.23), (0.07,0.52,0.23,0.68), (0.6,0.52,0.76,0.68)])
R(nmos_1_14, Metal1, [(0.07,0,0.23,0.75), (0.6,0,0.76,0.75)])
R(nmos_1_14, Metal1_pin, [(0.07,0,0.23,0.75), (0.6,0,0.76,0.75)])
R(nmos_1_14, HeatTrans, [(0.34,-0.18,0.49,0.93)])
nmos_1_14.add(gdstk.Label('nmos', (0.415,0.375), layer=63, texttype=0))
nmos_1_14.add(gdstk.Label('nmos', (0.415,0.375), layer=51, texttype=0))

tg_14 = lib.new_cell('tg$14')
R(tg_14, Activ, [(-1.035,-0.1,0.725,0.1), (-1.035,4.9,0.725,5.1)])
R(tg_14, GatPoly, [(-1.035,0.275,-0.725,0.585), (-0.725,0.36,0.075,0.5), (-1.035,4.305,-0.725,4.615), (-0.725,4.39,0.075,4.52)])
R(tg_14, Cont, [(-0.085,-0.08,0.085,0.08), (-0.96,0.35,-0.8,0.51), (-0.96,4.375,-0.8,4.535), (-0.08,4.92,0.08,5.08)])
R(tg_14, Metal1, [(-1.035,-0.08,0.725,0.08), (-0.085,-0.08,0.085,0.08), (-0.96,0.35,-0.8,0.51), (-0.345,0.83,-0.185,0.99), (0.185,0.83,0.345,0.99), (-0.345,1.06,-0.185,2.775), (0.185,1.06,0.345,2.775), (-0.985,4.35,-0.77,4.565), (-1.035,4.92,0.725,5.08), (-0.08,4.92,0.08,5.08)])
R(tg_14, Metal1_pin, [(-1.035,-0.08,0.725,0.08), (-0.085,-0.08,0.085,0.08), (-0.96,0.35,-0.8,0.51), (-0.345,0.83,-0.185,0.99), (0.185,0.83,0.345,0.99), (-0.96,4.375,-0.8,4.535), (-1.035,4.92,0.725,5.08), (-0.08,4.92,0.08,5.08)])
R(tg_14, pSD, [(-1.035,-0.13,0.725,0.13)])
R(tg_14, NWell, [(-0.725,4.585,0.725,5.13)])
tg_14.add(gdstk.Reference(pmos_1_24, (-0.415,2.775)))
tg_14.add(gdstk.Reference(nmos_1_14, (-0.415,0.575)))
tg_14.add(gdstk.Label('E', (-0.89,0.425), layer=8, texttype=2))
tg_14.add(gdstk.Label('vss', (0,0), layer=8, texttype=2))
tg_14.add(gdstk.Label('vdd', (0,5), layer=8, texttype=2))
tg_14.add(gdstk.Label('N_E', (-0.895,4.44), layer=8, texttype=2))
tg_14.add(gdstk.Label('VIN', (-0.285,0.91), layer=8, texttype=2))
tg_14.add(gdstk.Label('VOUT', (0.255,0.925), layer=8, texttype=2))

dffc = lib.new_cell('dffc')
R(dffc, Activ, [(7.72,-5.105,18.49,-4.9), (12.69,4.9,12.77,5.1)])
R(dffc, Cont, [(7.72,-5.08,8.07,-4.92)])
R(dffc, Metal1, [(6.205,-5.08,7.72,-4.92), (7.72,-5.08,18.49,-4.92), (6.205,-5,6.415,5.105), (11.09,-4.535,11.25,-1.69), (16.805,-4.535,16.965,-3.885), (7.725,-4.12,7.885,-0.385), (9.72,-2.245,10.55,-2.085), (10.39,-2.245,10.55,-0.34), (16.755,-1.935,16.915,-0.8), (8.63,-1.855,8.79,-0.8), (11.09,-1.255,11.25,-0.35), (10.39,-0.575,10.55,-0.305), (12.85,-0.51,13.95,-0.35), (15.54,-0.51,16.965,-0.35), (7.72,-0.08,18.49,0.08), (9.245,0.35,9.405,0.51), (7.725,0.44,7.885,2.245), (9.245,0.51,9.405,2.245), (11.005,0.51,11.165,1.115), (10.39,0.58,10.55,0.86), (9.86,1.43,10.02,1.85), (7.2,1.535,7.36,1.695), (11.005,2.085,11.165,4.535), (9.245,3.09,9.405,4.375), (6.415,4.92,6.69,5.105), (6.69,4.92,7.72,5.08), (7.72,4.92,18.18,5.08), (12.69,4.92,12.77,5.08)])
R(dffc, Metal1_pin, [(7.72,-5.08,18.49,-4.92), (11.09,-4.535,11.25,-4.375), (8.37,-0.08,8.53,0.08), (7.2,1.535,7.36,1.695), (8.63,2.37,8.79,2.535), (7.72,4.92,18.18,5.08)])
R(dffc, Metal2, [(7.725,-4.12,16.965,-3.96), (9.185,-3.005,11.865,-2.845), (12.235,-3.005,17.58,-2.845), (14.705,-1.935,16.915,-1.775), (16.755,-1.935,18.49,-1.775), (8.63,-1.855,11.25,-1.69), (12.235,-1.31,13.58,-1.15), (15.925,-1.31,18.49,-1.15), (16.305,-1.31,16.465,1.31), (7.725,-1.255,11.25,-1.095), (8.63,-0.965,8.79,0.665), (16.755,-0.96,16.915,2.245), (11.705,-0.805,13.585,-0.645), (13.42,-0.805,13.585,1.31), (17.95,-0.805,18.11,2.245), (7.725,-0.545,7.885,0.6), (11.09,-0.51,13.01,-0.35), (13.79,-0.51,15.695,-0.35), (10.39,-0.5,10.55,0.805), (8.63,0.955,11.165,1.115), (15.925,1.15,16.465,1.31), (7.2,1.535,10.02,1.695), (10.39,1.535,11.78,1.695), (7.2,2.085,8.255,2.245), (8.255,2.085,9.405,2.245), (9.245,2.085,11.165,2.245), (16.755,2.085,17.3,2.245), (17.64,2.085,18.11,2.245), (8.63,3.155,9.405,3.315)])
P(dffc, Metal2, [(12.15,1.775),(12.15,1.935),(14.24,1.935),(14.8,1.935),(14.8,1.775)])
R(dffc, Metal2_pin, [(18.33,-1.935,18.49,-1.775), (18.33,-1.31,18.49,-1.15), (15.925,1.15,16.085,1.31), (7.2,1.535,7.36,1.695), (9.86,1.535,10.02,1.695), (7.2,2.085,7.375,2.245), (8.095,2.085,8.255,2.245), (8.095,2.085,8.255,2.245), (17.95,2.085,18.11,2.245), (8.63,3.155,8.79,3.315)])
R(dffc, Via1, [(7.725,-4.12,7.885,-3.96), (16.805,-4.12,16.965,-3.96), (9.185,-3.005,9.345,-2.845), (11.705,-3.005,11.865,-2.845), (12.235,-3.005,12.395,-2.845), (17.42,-3.005,17.58,-2.845), (14.705,-1.935,14.865,-1.775), (16.755,-1.935,16.915,-1.775), (8.63,-1.855,8.79,-1.69), (11.09,-1.855,11.25,-1.69), (12.235,-1.31,12.395,-1.15), (13.42,-1.31,13.58,-1.15), (15.925,-1.31,16.085,-1.15), (7.725,-1.255,7.885,-1.095), (11.09,-1.255,11.255,-1.095), (8.63,-0.965,8.79,-0.8), (16.755,-0.96,16.915,-0.8), (11.705,-0.805,11.865,-0.645), (17.95,-0.805,18.11,-0.645), (7.725,-0.545,7.885,-0.385), (11.09,-0.51,11.25,-0.35), (12.85,-0.51,13.01,-0.35), (13.79,-0.51,13.95,-0.35), (15.54,-0.51,15.695,-0.35), (10.39,-0.5,10.55,-0.34), (11.005,0.35,11.165,0.51), (7.725,0.44,7.885,0.6), (8.63,0.505,8.79,0.665), (10.39,0.645,10.55,0.805), (8.63,0.955,8.79,1.115), (11.005,0.955,11.165,1.115), (13.42,1.15,13.58,1.31), (15.925,1.15,16.085,1.31), (7.2,1.535,7.36,1.695), (9.86,1.535,10.02,1.695), (10.39,1.535,10.55,1.695), (11.62,1.535,11.78,1.695), (12.15,1.775,12.31,1.935), (14.64,1.775,14.8,1.935), (7.2,2.085,7.375,2.245), (7.725,2.085,7.885,2.245), (8.095,2.085,8.255,2.245), (9.245,2.085,9.405,2.245), (11.005,2.085,11.165,2.245), (17.105,2.085,17.265,2.245), (17.64,2.085,17.8,2.245), (8.63,3.155,8.79,3.315), (9.245,3.155,9.405,3.315)])
R(dffc, NWell, [(7.72,-5.13,18.49,-4.87)])
dffc.add(gdstk.Reference(tg_16, (11.965,0)))
dffc.add(gdstk.Reference(nor2_6, (14.395,0), rotation=pi))
dffc.add(gdstk.Reference(nor2_5, (15.11,0)))
dffc.add(gdstk.Reference(tg_15, (17.765,0), x_reflection=True))
dffc.add(gdstk.Reference(inverter_9, (8.18,0)))
dffc.add(gdstk.Reference(inverter_10, (17.19,0)))
dffc.add(gdstk.Reference(tg_13, (10.205,0)))
dffc.add(gdstk.Reference(inverter_11, (9.795,0), rotation=pi))
dffc.add(gdstk.Reference(tg_14, (12.05,0), x_reflection=True))
dffc.add(gdstk.Label('VDD', (7.8,5), layer=8, texttype=2))
dffc.add(gdstk.Label('D', (7.245,1.61), layer=8, texttype=2))
dffc.add(gdstk.Label('N_E', (11.15,-4.46), layer=8, texttype=2))
dffc.add(gdstk.Label('VDD', (7.8,-5), layer=8, texttype=2))
dffc.add(gdstk.Label('VSS', (8.45,0), layer=8, texttype=2))
dffc.add(gdstk.Label('CLK', (7.275,2.185), layer=10, texttype=2))
dffc.add(gdstk.Label('Qn', (18.025,2.165), layer=10, texttype=2))
dffc.add(gdstk.Label('CLR', (18.39,-1.23), layer=10, texttype=2))
dffc.add(gdstk.Label('Q', (18.41,-1.855), layer=10, texttype=2))

lib.write_gds('dffc.gds')
